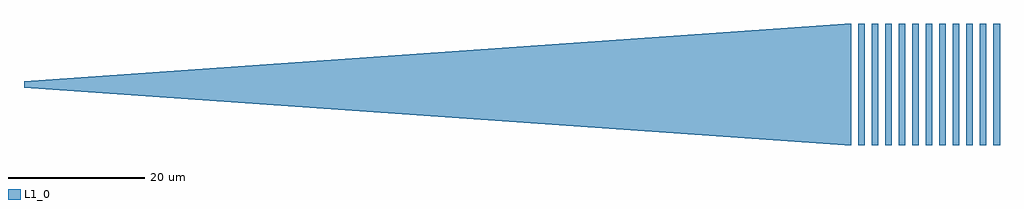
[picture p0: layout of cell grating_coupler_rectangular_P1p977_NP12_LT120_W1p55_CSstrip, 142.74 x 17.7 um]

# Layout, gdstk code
import gdstk
lib = gdstk.Library(unit=1e-6, precision=1e-09)
def R(c, l, rs):  # rectangles x0, y0, x1, y1
    for r in rs: c.add(gdstk.rectangle(r[:2], r[2:], *l))
def A(c, l, x, y, w, h, nx, ny, dx, dy):  # array of equal rectangles
    R(c, l, [(x+i*dx, y+j*dy, x+i*dx+w, y+j*dy+h) for i in range(nx) for j in range(ny)])
def P(c, l, *ps):  # polygons
    for p in ps: c.add(gdstk.Polygon(p, *l))
L1_0 = (1, 0)

grating_coupler_rectangu = lib.new_cell('grating_coupler_rectangular_P1p977_NP12_LT120_W1p55_CSstrip')
A(grating_coupler_rectangu, L1_0, 121.977, -8.85, 0.988, 17.7, 11, 1, 1.977, 0)
P(grating_coupler_rectangu, L1_0, [(120,-8.85),(0,-0.5),(0,0.5),(120,8.85),(120.988,8.85),(120.988,-8.85)])

lib.write_gds('grating_coupler_rectangular_P1p977_NP12_LT120_W1p55_CSstrip.gds')
